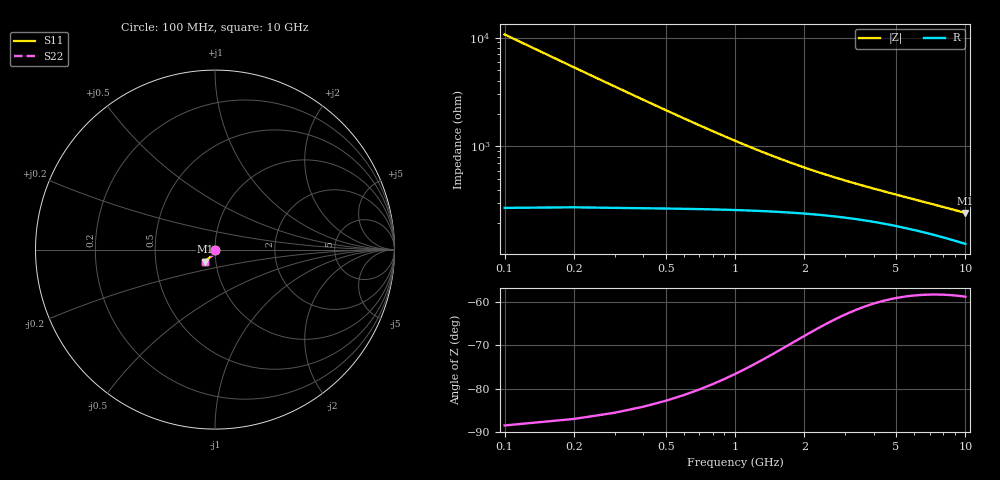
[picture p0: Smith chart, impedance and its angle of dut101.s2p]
! Touchstone file exported from HFSS 2024.1.0
!  File:  C:/UserFiles/LocalFiles/RDL_TSV_Batchsim/temp_TSV1_101_1778752285.aedt
!  Generated:  05:54:53 PM May 14, 2026
!  Design:  TSV1
!  Project:  temp_TSV1_101_1778752285
!  Setup:  Setup1
!  Solution:  Sweep
! Variables:
!  dtsv = 20.23um
!  hbump = 3um
!  htsv = 60.53um
!  lrdl = 252.1521522um
!  p = 40
!  p1 = 43.07um
!  t = 500um
!  trdl = 3um
!  wrdl = 24.89489489um
# GHz S MA R 50.000000
! Terminal data exported
! Port[1] = TSV22_T1
! Port[2] = TSV22_T2
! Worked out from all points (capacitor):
!   100 points, 100 MHz to 10 GHz, reference 50 ohm
!   read as one part in shunt: C = 150 fF near 100 MHz
!   lowest |Z| = 246 ohm at 10 GHz (marker M1)
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0.1  0.002169 -89.7  0.9999 -0.1  0.9999 -0.1  0.002169 -89.7
! Gamma 0 0 0 0
! Port Impedance 50 0 50 0
0.2  0.004362 -92.3  0.9997 -0.3  0.9997 -0.3  0.004362 -92.3
0.3  0.006533 -94.2  0.9993 -0.4  0.9993 -0.4  0.006533 -94.2
0.4  0.008677 -95.9  0.9989 -0.6  0.9989 -0.6  0.008677 -95.9
0.5  0.01079 -97.5  0.9983 -0.7  0.9983 -0.7  0.01079 -97.5
0.6  0.01286 -99.0  0.9977 -0.8  0.9977 -0.8  0.01286 -99.0
0.7  0.01488 -100.5  0.9969 -1.0  0.9969 -1.0  0.01488 -100.5
0.8  0.01685 -101.9  0.9961 -1.1  0.9961 -1.1  0.01685 -101.9
0.9  0.01877 -103.3  0.9953 -1.2  0.9953 -1.2  0.01877 -103.3
1.1  0.02243 -105.9  0.9934 -1.4  0.9934 -1.4  0.02243 -105.9
1.4  0.02748 -109.5  0.9905 -1.7  0.9905 -1.7  0.02748 -109.5
1.6  0.03054 -111.6  0.9885 -1.9  0.9885 -1.9  0.03054 -111.6
1.8  0.03338 -113.4  0.9865 -2.0  0.9865 -2.0  0.03338 -113.4
2.1  0.03725 -115.9  0.9835 -2.2  0.9835 -2.2  0.03725 -115.9
2.5  0.0418 -118.6  0.9799 -2.5  0.9799 -2.5  0.0418 -118.6
2.9  0.04579 -120.8  0.9766 -2.7  0.9766 -2.7  0.04579 -120.8
3.4  0.05019 -122.8  0.9729 -3.0  0.9729 -3.0  0.05019 -122.8
4.2  0.05629 -125.1  0.9679 -3.3  0.9679 -3.3  0.05629 -125.1
5.1  0.06224 -126.8  0.9632 -3.7  0.9632 -3.7  0.06224 -126.8
6.7  0.0714 -128.4  0.9565 -4.2  0.9565 -4.2  0.0714 -128.4
8.4  0.07988 -129.2  0.9508 -4.8  0.9508 -4.8  0.07988 -129.2
10  0.08712 -129.6  0.9463 -5.4  0.9463 -5.4  0.08712 -129.6
